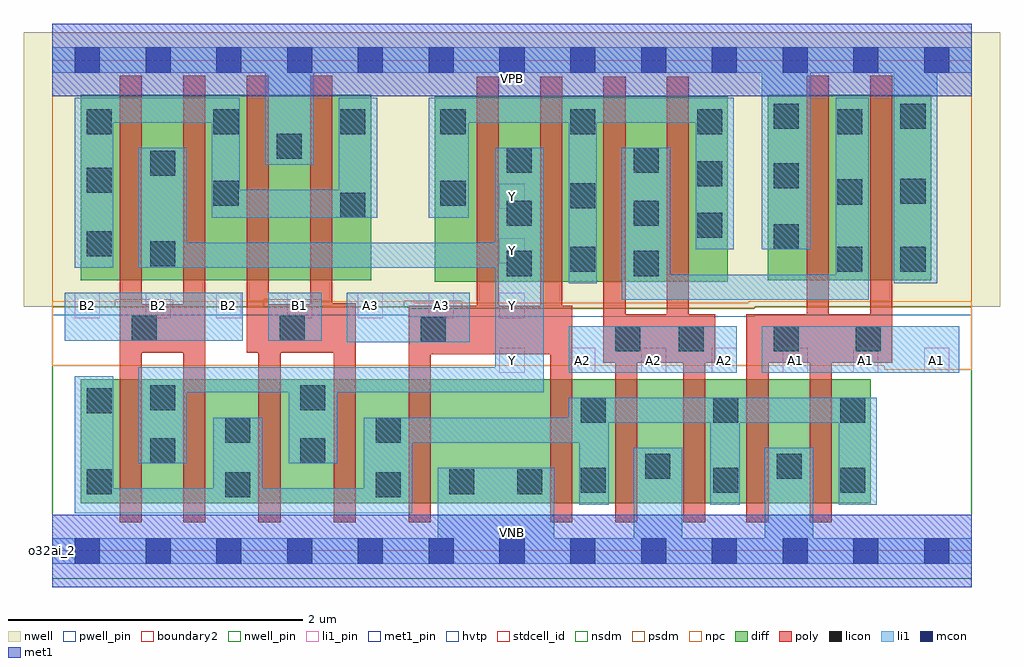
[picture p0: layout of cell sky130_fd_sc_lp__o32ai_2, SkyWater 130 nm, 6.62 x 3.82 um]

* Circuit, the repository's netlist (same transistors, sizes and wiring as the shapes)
* Copyright 2020 The SkyWater PDK Authors
*
* Licensed under the Apache License, Version 2.0 (the "License");
* you may not use this file except in compliance with the License.
* You may obtain a copy of the License at
*
*     https://www.apache.org/licenses/LICENSE-2.0
*
* Unless required by applicable law or agreed to in writing, software
* distributed under the License is distributed on an "AS IS" BASIS,
* WITHOUT WARRANTIES OR CONDITIONS OF ANY KIND, either express or implied.
* See the License for the specific language governing permissions and
* limitations under the License.
*
* SPDX-License-Identifier: Apache-2.0

.SUBCKT sky130_fd_sc_lp__o32ai_2 A1 A2 A3 B1 B2 VGND VNB VPB VPWR Y
*.PININFO A1:I A2:I A3:I B1:I B2:I VGND:I VNB:I VPB:I VPWR:I Y:O
MMPA0 VPWR A1 sndA1 VPB sky130_fd_pr__pfet_01v8_hvt m=2 w=1.26U l=0.15U mult=1
+ sa=0.265 sb=0.265 sd=0.28 area=0.063 perim=1.14
MMPA1 sndA1 A2 sndA2 VPB sky130_fd_pr__pfet_01v8_hvt m=2 w=1.26U l=0.15U mult=1
+ sa=0.265 sb=0.265 sd=0.28 area=0.063 perim=1.14
MMPA2 sndA2 A3 Y VPB sky130_fd_pr__pfet_01v8_hvt m=2 w=1.26U l=0.15U mult=1 sa=0.265
+ sb=0.265 sd=0.28 area=0.063 perim=1.14
MMPB0 VPWR B1 sndB1 VPB sky130_fd_pr__pfet_01v8_hvt m=2 w=1.26U l=0.15U mult=1
+ sa=0.265 sb=0.265 sd=0.28 area=0.063 perim=1.14
MMPB1 sndB1 B2 Y VPB sky130_fd_pr__pfet_01v8_hvt m=2 w=1.26U l=0.15U mult=1 sa=0.265
+ sb=0.265 sd=0.28 area=0.063 perim=1.14
MMNA0 pndA A1 VGND VNB sky130_fd_pr__nfet_01v8 m=2 w=0.84U l=0.15U mult=1 sa=0.265
+ sb=0.265 sd=0.28 area=0.063 perim=1.14
MMNA1 pndA A2 VGND VNB sky130_fd_pr__nfet_01v8 m=2 w=0.84U l=0.15U mult=1 sa=0.265
+ sb=0.265 sd=0.28 area=0.063 perim=1.14
MMNA2 pndA A3 VGND VNB sky130_fd_pr__nfet_01v8 m=2 w=0.84U l=0.15U mult=1 sa=0.265
+ sb=0.265 sd=0.28 area=0.063 perim=1.14
MMNB0 Y B1 pndA VNB sky130_fd_pr__nfet_01v8 m=2 w=0.84U l=0.15U mult=1 sa=0.265
+ sb=0.265 sd=0.28 area=0.063 perim=1.14
MMNB1 Y B2 pndA VNB sky130_fd_pr__nfet_01v8 m=2 w=0.84U l=0.15U mult=1 sa=0.265
+ sb=0.265 sd=0.28 area=0.063 perim=1.14
.ENDS sky130_fd_sc_lp__o32ai_2

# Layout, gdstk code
import gdstk
lib = gdstk.Library(unit=1e-6, precision=1e-09)
def R(c, l, rs):  # rectangles x0, y0, x1, y1
    for r in rs: c.add(gdstk.rectangle(r[:2], r[2:], *l))
def A(c, l, x, y, w, h, nx, ny, dx, dy):  # array of equal rectangles
    R(c, l, [(x+i*dx, y+j*dy, x+i*dx+w, y+j*dy+h) for i in range(nx) for j in range(ny)])
def P(c, l, *ps):  # polygons
    for p in ps: c.add(gdstk.Polygon(p, *l))
nwell_pin = (64, 16)
nwell = (64, 20)
diff = (65, 20)
poly = (66, 20)
licon = (66, 44)
li1_pin = (67, 16)
li1 = (67, 20)
mcon = (67, 44)
met1_pin = (68, 16)
met1 = (68, 20)
hvtp = (78, 44)
stdcell_id = (81, 4)
nsdm = (93, 44)
psdm = (94, 20)
npc = (95, 20)
pwell_pin = (122, 16)
boundary2 = (236, 0)

sky130_fd_sc_lp__o32ai_2 = lib.new_cell('sky130_fd_sc_lp__o32ai_2')
R(sky130_fd_sc_lp__o32ai_2, nwell_pin, [(0,3.085,6.24,3.33)])
P(sky130_fd_sc_lp__o32ai_2, nwell, [(6.43,3.52),(-0.19,3.52),(-0.19,1.655),(2.415,1.655),(2.415,1.645),(4.765,1.645),(4.765,1.655),(6.43,1.655)])
R(sky130_fd_sc_lp__o32ai_2, diff, [(0.195,0.325,5.555,1.165), (2.595,1.825,4.585,3.085), (0.195,1.835,2.165,3.095), (4.855,1.835,5.965,3.095)])
P(sky130_fd_sc_lp__o32ai_2, poly, [(1.04,3.225),(0.89,3.225),(0.89,1.675),(0.61,1.675),(0.61,3.225),(0.46,3.225),(0.46,0.195),(0.61,0.195),(0.61,1.345),(0.89,1.345),(0.89,0.195),(1.04,0.195)],
  [(2.06,1.68),(1.9,1.68),(1.9,3.225),(1.75,3.225),(1.75,1.675),(1.47,1.675),(1.47,3.225),(1.32,3.225),(1.32,1.345),(1.4,1.345),(1.4,0.195),(1.55,0.195),(1.55,1.345),(1.91,1.345),(1.91,0.195),(2.06,0.195)],
  [(3.53,1.665),(3.46,1.665),(3.46,3.215),(3.31,3.215),(3.31,1.665),(3.03,1.665),(3.03,3.215),(2.88,3.215),(2.88,1.665),(2.42,1.665),(2.42,0.195),(2.57,0.195),(2.57,1.335),(3.38,1.335),(3.38,0.195),(3.53,0.195)],
  [(4.5,1.605),(4.32,1.605),(4.32,3.215),(4.17,3.215),(4.17,1.605),(3.89,1.605),(3.89,3.215),(3.74,3.215),(3.74,1.275),(3.82,1.275),(3.82,0.195),(3.97,0.195),(3.97,1.275),(4.28,1.275),(4.28,0.195),(4.43,0.195),(4.43,1.275),(4.5,1.275)],
  [(5.7,3.225),(5.55,3.225),(5.55,1.605),(5.27,1.605),(5.27,3.225),(5.12,3.225),(5.12,1.605),(4.71,1.605),(4.71,0.195),(4.86,0.195),(4.86,1.275),(5.14,1.275),(5.14,0.195),(5.29,0.195),(5.29,1.275),(5.7,1.275)])
A(sky130_fd_sc_lp__o32ai_2, licon, 4.375, 2.125, 0.17, 0.17, 1, 3, 0, 0.35)
A(sky130_fd_sc_lp__o32ai_2, licon, 0.235, 2.825, 0.17, 0.17, 3, 1, 0.86, 0)
R(sky130_fd_sc_lp__o32ai_2, licon, [(1.175,0.365,1.345,0.535), (2.195,0.365,2.365,0.535), (0.235,0.385,0.405,0.555), (2.695,0.385,2.865,0.555), (3.155,0.385,3.325,0.555), (3.585,0.395,3.755,0.565), (4.485,0.395,4.655,0.565), (5.345,0.395,5.515,0.565), (4.025,0.49,4.195,0.66), (4.915,0.49,5.085,0.66), (0.665,0.595,0.835,0.765), (1.685,0.595,1.855,0.765), (1.175,0.735,1.345,0.905), (2.195,0.735,2.365,0.905), (3.585,0.87,3.755,1.04), (4.485,0.87,4.655,1.04), (5.345,0.87,5.515,1.04), (0.235,0.935,0.405,1.105), (0.665,0.955,0.835,1.125), (1.685,0.955,1.855,1.125), (3.82,1.355,3.99,1.525), (4.25,1.355,4.42,1.525), (4.895,1.355,5.065,1.525), (5.45,1.355,5.62,1.525), (2.5,1.415,2.67,1.585), (0.54,1.425,0.71,1.595), (1.545,1.425,1.715,1.595), (3.085,1.865,3.255,2.035), (3.945,1.865,4.115,2.035), (3.515,1.895,3.685,2.065), (5.325,1.895,5.495,2.065), (5.755,1.895,5.925,2.065), (0.665,1.93,0.835,2.1), (0.235,2,0.405,2.17), (4.895,2.045,5.065,2.215), (3.085,2.205,3.255,2.375), (3.945,2.205,4.115,2.375), (1.955,2.26,2.125,2.43), (3.515,2.325,3.685,2.495), (1.095,2.34,1.265,2.51), (2.635,2.34,2.805,2.51), (5.325,2.35,5.495,2.52), (5.755,2.355,5.925,2.525), (0.235,2.43,0.405,2.6), (4.895,2.46,5.065,2.63), (0.665,2.545,0.835,2.715), (3.085,2.565,3.255,2.735), (3.945,2.565,4.115,2.735), (1.525,2.66,1.695,2.83), (2.635,2.825,2.805,2.995), (3.515,2.825,3.685,2.995), (5.325,2.825,5.495,2.995), (4.895,2.865,5.065,3.035), (5.755,2.865,5.925,3.035)])
A(sky130_fd_sc_lp__o32ai_2, li1_pin, 3.035, 1.21, 0.17, 0.17, 7, 1, 0.48, 0)
A(sky130_fd_sc_lp__o32ai_2, li1_pin, 0.155, 1.58, 0.17, 0.17, 7, 1, 0.48, 0)
R(sky130_fd_sc_lp__o32ai_2, li1_pin, [(3.035,1.95,3.205,2.12), (3.035,2.32,3.205,2.49)])
R(sky130_fd_sc_lp__o32ai_2, li1, [(3.505,1.21,4.645,1.525), (4.815,1.21,6.155,1.525), (2,1.415,2.835,1.75), (0.085,1.425,1.295,1.75), (1.465,1.425,1.83,1.75)])
P(sky130_fd_sc_lp__o32ai_2, li1, [(4.815,2.045),(4.815,3.245),(1.775,3.245),(1.775,2.62),(1.445,2.62),(1.445,3.245),(0,3.245),(0,3.415),(6.24,3.415),(6.24,3.245),(6.005,3.245),(6.005,1.815),(5.71,1.815),(5.71,3.245),(5.145,3.245),(5.145,2.045)],
  [(3.945,0.085),(3.945,0.7),(4.275,0.7),(4.275,0.085),(4.835,0.085),(4.835,0.7),(5.165,0.7),(5.165,0.085),(6.24,0.085),(6.24,-0.085),(0,-0.085),(0,0.085),(2.615,0.085),(2.615,0.565),(3.405,0.565),(3.405,0.085)],
  [(3.005,1.92),(0.585,1.92),(0.585,2.735),(0.915,2.735),(0.915,2.09),(3.005,2.09),(3.005,2.735),(3.335,2.735),(3.335,1.075),(1.935,1.075),(1.935,0.595),(1.605,0.595),(1.605,1.075),(0.915,1.075),(0.915,0.595),(0.585,0.595),(0.585,1.245),(3.005,1.245)],
  [(4.365,2.905),(3.695,2.905),(3.695,1.815),(3.505,1.815),(3.505,2.905),(2.825,2.905),(2.825,2.26),(2.555,2.26),(2.555,3.075),(4.625,3.075),(4.625,2.045),(4.365,2.045)],
  [(4.195,1.875),(5.315,1.875),(5.315,3.075),(5.54,3.075),(5.54,1.705),(3.865,1.705),(3.865,2.735),(4.195,2.735)],
  [(1.275,2.45),(1.945,2.45),(1.945,3.075),(2.205,3.075),(2.205,2.26),(1.085,2.26),(1.085,2.905),(0.415,2.905),(0.415,1.92),(0.155,1.92),(0.155,3.075),(1.275,3.075)],
  [(5.335,0.87),(4.665,0.87),(4.665,0.315),(4.465,0.315),(4.465,0.87),(3.775,0.87),(3.775,0.315),(3.575,0.315),(3.575,0.735),(2.445,0.735),(2.445,0.255),(0.155,0.255),(0.155,1.185),(0.415,1.185),(0.415,0.425),(1.095,0.425),(1.095,0.905),(1.425,0.905),(1.425,0.425),(2.115,0.425),(2.115,0.905),(3.505,0.905),(3.505,1.04),(5.595,1.04),(5.595,0.315),(5.335,0.315)])
A(sky130_fd_sc_lp__o32ai_2, mcon, 0.155, -0.085, 0.17, 0.17, 13, 2, 0.48, 3.33)
R(sky130_fd_sc_lp__o32ai_2, met1_pin, [(0,0,6.24,0.245), (0,3.085,6.24,3.33)])
R(sky130_fd_sc_lp__o32ai_2, met1, [(0,-0.245,6.24,0.245), (0,3.085,6.24,3.575)])
P(sky130_fd_sc_lp__o32ai_2, hvtp, [(6.24,3.33),(0,3.33),(0,1.6),(2.415,1.6),(2.415,1.59),(4.765,1.59),(4.765,1.6),(6.24,1.6)])
R(sky130_fd_sc_lp__o32ai_2, stdcell_id, [(0,0,6.24,3.33)])
P(sky130_fd_sc_lp__o32ai_2, nsdm, [(6.24,1.655),(4.765,1.655),(4.765,1.645),(2.415,1.645),(2.415,1.655),(0,1.655),(0,-0.19),(6.24,-0.19)])
P(sky130_fd_sc_lp__o32ai_2, psdm, [(6.24,3.52),(0,3.52),(0,1.655),(0.43,1.655),(0.43,1.705),(0.82,1.705),(0.82,1.655),(1.435,1.655),(1.435,1.705),(1.825,1.705),(1.825,1.655),(2.39,1.655),(2.39,1.695),(2.78,1.695),(2.78,1.645),(4.765,1.645),(4.765,1.655),(6.24,1.655)])
P(sky130_fd_sc_lp__o32ai_2, npc, [(6.24,1.695),(4.725,1.695),(4.725,1.685),(2.455,1.685),(2.455,1.695),(0,1.695),(0,1.255),(5.645,1.255),(5.645,1.23),(6.24,1.23)])
R(sky130_fd_sc_lp__o32ai_2, pwell_pin, [(0,0,6.24,0.245)])
R(sky130_fd_sc_lp__o32ai_2, boundary2, [(0,0,6.24,3.33)])
sky130_fd_sc_lp__o32ai_2.add(gdstk.Label('VNB', (3.12,0.123), layer=64, texttype=59))
sky130_fd_sc_lp__o32ai_2.add(gdstk.Label('VPB', (3.12,3.208), layer=64, texttype=5))
sky130_fd_sc_lp__o32ai_2.add(gdstk.Label('o32ai_2', (0,0), layer=83, texttype=44))
sky130_fd_sc_lp__o32ai_2.add(gdstk.Label('VPWR', (3.12,3.208), layer=68, texttype=5))
sky130_fd_sc_lp__o32ai_2.add(gdstk.Label('VGND', (3.12,0.123), layer=68, texttype=5))
sky130_fd_sc_lp__o32ai_2.add(gdstk.Label('Y', (3.12,1.295), layer=67, texttype=5))
sky130_fd_sc_lp__o32ai_2.add(gdstk.Label('Y', (3.12,1.665), layer=67, texttype=5))
sky130_fd_sc_lp__o32ai_2.add(gdstk.Label('Y', (3.12,2.035), layer=67, texttype=5))
sky130_fd_sc_lp__o32ai_2.add(gdstk.Label('Y', (3.12,2.405), layer=67, texttype=5))
sky130_fd_sc_lp__o32ai_2.add(gdstk.Label('A1', (5.04,1.295), layer=67, texttype=5))
sky130_fd_sc_lp__o32ai_2.add(gdstk.Label('A1', (5.52,1.295), layer=67, texttype=5))
sky130_fd_sc_lp__o32ai_2.add(gdstk.Label('A1', (6,1.295), layer=67, texttype=5))
sky130_fd_sc_lp__o32ai_2.add(gdstk.Label('A2', (3.6,1.295), layer=67, texttype=5))
sky130_fd_sc_lp__o32ai_2.add(gdstk.Label('A2', (4.08,1.295), layer=67, texttype=5))
sky130_fd_sc_lp__o32ai_2.add(gdstk.Label('A2', (4.56,1.295), layer=67, texttype=5))
sky130_fd_sc_lp__o32ai_2.add(gdstk.Label('A3', (2.16,1.665), layer=67, texttype=5))
sky130_fd_sc_lp__o32ai_2.add(gdstk.Label('A3', (2.64,1.665), layer=67, texttype=5))
sky130_fd_sc_lp__o32ai_2.add(gdstk.Label('B1', (1.68,1.665), layer=67, texttype=5))
sky130_fd_sc_lp__o32ai_2.add(gdstk.Label('B2', (0.24,1.665), layer=67, texttype=5))
sky130_fd_sc_lp__o32ai_2.add(gdstk.Label('B2', (0.72,1.665), layer=67, texttype=5))
sky130_fd_sc_lp__o32ai_2.add(gdstk.Label('B2', (1.2,1.665), layer=67, texttype=5))

lib.write_gds('sky130_fd_sc_lp__o32ai_2.gds')
